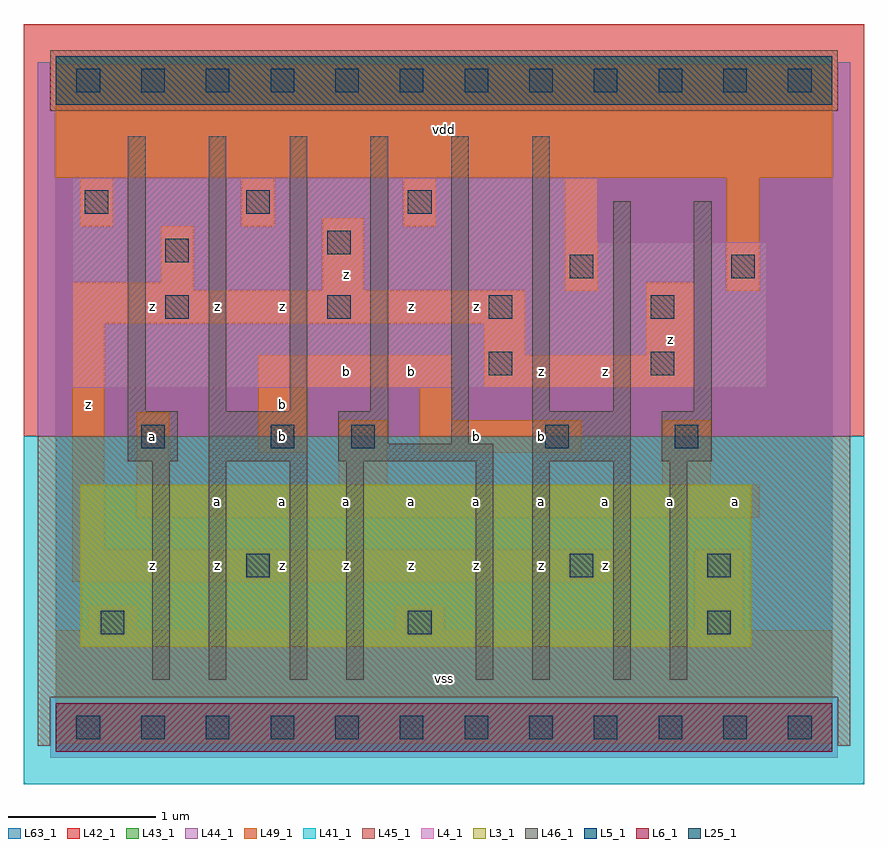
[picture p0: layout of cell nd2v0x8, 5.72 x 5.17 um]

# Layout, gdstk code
import gdstk
lib = gdstk.Library(unit=1e-6, precision=1e-09)
def R(c, l, rs):  # rectangles x0, y0, x1, y1
    for r in rs: c.add(gdstk.rectangle(r[:2], r[2:], *l))
def A(c, l, x, y, w, h, nx, ny, dx, dy):  # array of equal rectangles
    R(c, l, [(x+i*dx, y+j*dy, x+i*dx+w, y+j*dy+h) for i in range(nx) for j in range(ny)])
L3_1 = (3, 1)
L4_1 = (4, 1)
L5_1 = (5, 1)
L6_1 = (6, 1)
L25_1 = (25, 1)
L41_1 = (41, 1)
L42_1 = (42, 1)
L43_1 = (43, 1)
L44_1 = (44, 1)
L45_1 = (45, 1)
L46_1 = (46, 1)
L49_1 = (49, 1)
L63_1 = (63, 1)

nd2v0x8 = lib.new_cell('nd2v0x8')
R(nd2v0x8, L3_1, [(0.165,0.55,4.73,1.65)])
R(nd2v0x8, L4_1, [(0.11,2.31,4.84,3.3), (0.11,3.3,3.685,3.74)])
R(nd2v0x8, L5_1, [(0,4.235,5.28,4.565)])
R(nd2v0x8, L6_1, [(0,-0.165,5.28,0.165)])
A(nd2v0x8, L25_1, 0.14, -0.08, 0.16, 0.16, 12, 2, 0.44, 4.4)
A(nd2v0x8, L25_1, 0.745, 2.78, 0.16, 0.16, 4, 1, 1.1, 0)
A(nd2v0x8, L25_1, 0.195, 3.495, 0.16, 0.16, 3, 1, 1.1, 0)
R(nd2v0x8, L25_1, [(0.305,0.635,0.465,0.795), (2.395,0.635,2.555,0.795), (4.43,0.635,4.59,0.795), (1.295,1.02,1.455,1.18), (3.495,1.02,3.655,1.18), (4.43,1.02,4.59,1.18), (0.58,1.9,0.74,2.06), (1.46,1.9,1.62,2.06), (2.01,1.9,2.17,2.06), (3.33,1.9,3.49,2.06), (4.21,1.9,4.37,2.06), (2.945,2.395,3.105,2.555), (4.045,2.395,4.205,2.555), (3.495,3.055,3.655,3.215), (4.595,3.055,4.755,3.215), (0.745,3.165,0.905,3.325), (1.845,3.22,2.005,3.38)])
R(nd2v0x8, L41_1, [(-0.22,-0.385,5.5,1.98)])
R(nd2v0x8, L42_1, [(-0.22,1.98,5.5,4.785)])
R(nd2v0x8, L43_1, [(0,-0.165,5.28,0.165), (0.165,0.55,4.73,1.65), (0.11,2.31,4.84,3.3), (0.11,3.3,3.685,3.74), (0,4.235,5.28,4.565)])
R(nd2v0x8, L44_1, [(-0.04,-0.205,5.32,0.205), (-0.125,1.98,5.405,4.195), (-0.125,4.195,-0.04,4.525), (5.32,4.195,5.405,4.525)])
R(nd2v0x8, L45_1, [(-0.125,-0.125,-0.04,0.205), (5.32,-0.125,5.405,0.205), (-0.125,0.205,5.405,1.98), (-0.04,4.195,5.32,4.605)])
A(nd2v0x8, L46_1, 0.49, 2.15, 0.12, 1.87, 4, 1, 0.55, 0)
R(nd2v0x8, L46_1, [(0.655,0.325,0.775,1.81), (1.04,0.325,1.16,1.81), (1.59,0.325,1.71,1.81), (1.975,0.325,2.095,1.81), (2.855,0.325,2.975,1.81), (3.24,0.325,3.36,1.81), (3.79,0.325,3.91,1.81), (4.175,0.325,4.295,1.81), (0.49,1.81,0.83,2.15), (1.04,1.81,1.71,2.15), (1.92,1.81,2.975,1.93), (3.24,1.81,3.91,2.15), (4.12,1.81,4.46,2.15), (1.92,1.93,2.26,2.15), (2.69,1.93,2.81,4.02), (3.24,2.15,3.36,4.02), (3.79,2.15,3.91,3.58), (4.34,2.15,4.46,3.58)])
A(nd2v0x8, L49_1, 0.165, 3.41, 0.22, 0.33, 3, 1, 1.1, 0)
R(nd2v0x8, L49_1, [(0,-0.11,5.28,0.66), (0.22,0.66,0.55,0.825), (2.31,0.66,2.64,0.825), (4.345,0.66,4.675,1.21), (0.11,0.99,3.905,1.21), (0.11,1.21,0.33,2.75), (0.55,1.43,4.785,1.65), (0.55,1.65,0.77,2.145), (1.925,1.65,2.255,2.09), (4.125,1.65,4.455,2.09), (1.375,1.87,1.705,2.31), (2.475,1.87,3.575,2.09), (2.475,2.09,2.695,2.31), (1.375,2.31,2.695,2.53), (2.915,2.31,4.345,2.53), (2.915,2.53,3.19,2.75), (4.015,2.53,4.345,3.025), (0.11,2.75,3.19,2.97), (0.11,2.97,0.935,3.025), (1.815,2.97,2.09,3.465), (3.465,2.97,3.685,3.74), (4.565,2.97,4.785,3.74), (0.715,3.025,0.935,3.41), (0,3.74,5.28,4.51)])
R(nd2v0x8, L63_1, [(0,0,5.28,4.4)])
nd2v0x8.add(gdstk.Label('z', (0.66,1.1), layer=49, texttype=1))
nd2v0x8.add(gdstk.Label('z', (0.22,2.2), layer=49, texttype=1))
nd2v0x8.add(gdstk.Label('a', (0.66,1.98), layer=49, texttype=1))
nd2v0x8.add(gdstk.Label('z', (0.66,2.86), layer=49, texttype=1))
nd2v0x8.add(gdstk.Label('z', (1.1,1.1), layer=49, texttype=1))
nd2v0x8.add(gdstk.Label('a', (1.1,1.54), layer=49, texttype=1))
nd2v0x8.add(gdstk.Label('z', (1.54,1.1), layer=49, texttype=1))
nd2v0x8.add(gdstk.Label('a', (1.54,1.54), layer=49, texttype=1))
nd2v0x8.add(gdstk.Label('b', (1.54,1.98), layer=49, texttype=1))
nd2v0x8.add(gdstk.Label('b', (1.54,2.2), layer=49, texttype=1))
nd2v0x8.add(gdstk.Label('z', (1.54,2.86), layer=49, texttype=1))
nd2v0x8.add(gdstk.Label('z', (1.1,2.86), layer=49, texttype=1))
nd2v0x8.add(gdstk.Label('vss', (2.64,0.33), layer=49, texttype=1))
nd2v0x8.add(gdstk.Label('z', (1.98,1.1), layer=49, texttype=1))
nd2v0x8.add(gdstk.Label('a', (1.98,1.54), layer=49, texttype=1))
nd2v0x8.add(gdstk.Label('z', (2.42,1.1), layer=49, texttype=1))
nd2v0x8.add(gdstk.Label('a', (2.42,1.54), layer=49, texttype=1))
nd2v0x8.add(gdstk.Label('z', (2.86,1.1), layer=49, texttype=1))
nd2v0x8.add(gdstk.Label('a', (2.86,1.54), layer=49, texttype=1))
nd2v0x8.add(gdstk.Label('b', (1.98,2.42), layer=49, texttype=1))
nd2v0x8.add(gdstk.Label('b', (2.42,2.42), layer=49, texttype=1))
nd2v0x8.add(gdstk.Label('b', (2.86,1.98), layer=49, texttype=1))
nd2v0x8.add(gdstk.Label('z', (2.42,2.86), layer=49, texttype=1))
nd2v0x8.add(gdstk.Label('z', (2.86,2.86), layer=49, texttype=1))
nd2v0x8.add(gdstk.Label('z', (1.98,3.08), layer=49, texttype=1))
nd2v0x8.add(gdstk.Label('vdd', (2.64,4.07), layer=49, texttype=1))
nd2v0x8.add(gdstk.Label('z', (3.3,1.1), layer=49, texttype=1))
nd2v0x8.add(gdstk.Label('a', (3.3,1.54), layer=49, texttype=1))
nd2v0x8.add(gdstk.Label('z', (3.74,1.1), layer=49, texttype=1))
nd2v0x8.add(gdstk.Label('a', (3.74,1.54), layer=49, texttype=1))
nd2v0x8.add(gdstk.Label('a', (4.18,1.54), layer=49, texttype=1))
nd2v0x8.add(gdstk.Label('b', (3.3,1.98), layer=49, texttype=1))
nd2v0x8.add(gdstk.Label('z', (3.3,2.42), layer=49, texttype=1))
nd2v0x8.add(gdstk.Label('z', (3.74,2.42), layer=49, texttype=1))
nd2v0x8.add(gdstk.Label('z', (4.18,2.64), layer=49, texttype=1))
nd2v0x8.add(gdstk.Label('a', (4.62,1.54), layer=49, texttype=1))

lib.write_gds('nd2v0x8.gds')
